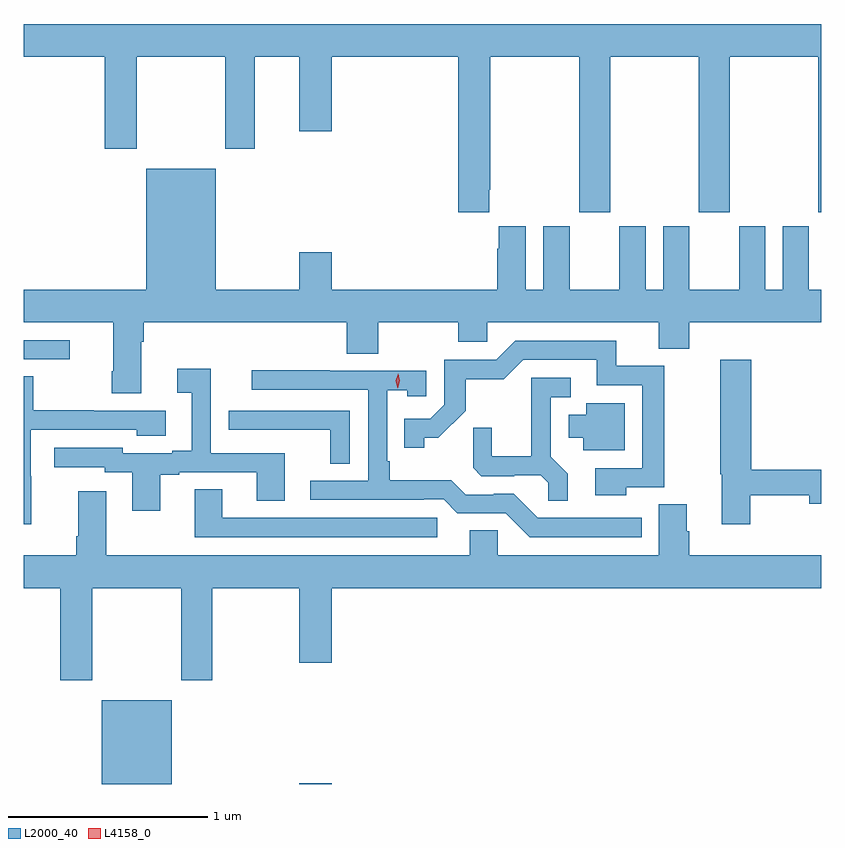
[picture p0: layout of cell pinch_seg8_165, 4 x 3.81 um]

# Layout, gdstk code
import gdstk
lib = gdstk.Library(unit=1e-6, precision=1e-09)
def R(c, l, rs):  # rectangles x0, y0, x1, y1
    for r in rs: c.add(gdstk.rectangle(r[:2], r[2:], *l))
def P(c, l, *ps):  # polygons
    for p in ps: c.add(gdstk.Polygon(p, *l))
L2000_40 = (2000, 40)
L4158_0 = (4158, 0)

pinch_seg8_165 = lib.new_cell('pinch_seg8_165')
R(pinch_seg8_165, L2000_40, [(655.526,1144.822,655.876,1145.242), (656.516,1144.822,656.68,1144.825), (655.134,1146.951,655.366,1147.047)])
P(pinch_seg8_165, L2000_40, [(657.469,1147.801),(657.474,1147.801),(657.474,1148.468),(657.919,1148.468),(657.919,1147.689),(658.074,1147.689),(658.074,1148.468),(658.519,1148.468),(658.519,1147.689),(658.674,1147.689),(658.674,1148.468),(659.119,1148.468),(659.119,1147.689),(659.134,1147.689),(659.134,1148.632),(655.134,1148.632),(655.134,1148.468),(655.541,1148.468),(655.541,1148.007),(655.701,1148.007),(655.701,1148.468),(656.146,1148.468),(656.146,1148.007),(656.293,1148.007),(656.293,1148.468),(656.516,1148.468),(656.516,1148.094),(656.68,1148.094),(656.68,1148.468),(657.314,1148.468),(657.314,1147.689),(657.469,1147.689)],
  [(658.319,1147.003),(658.472,1147.003),(658.472,1147.136),(659.134,1147.136),(659.134,1147.3),(659.071,1147.3),(659.071,1147.618),(658.94,1147.618),(658.94,1147.3),(658.852,1147.3),(658.852,1147.618),(658.721,1147.618),(658.721,1147.3),(658.471,1147.3),(658.471,1147.618),(658.34,1147.618),(658.34,1147.3),(658.252,1147.3),(658.252,1147.618),(658.121,1147.618),(658.121,1147.3),(657.871,1147.3),(657.871,1147.618),(657.74,1147.618),(657.74,1147.3),(657.652,1147.3),(657.652,1147.618),(657.515,1147.618),(657.515,1147.505),(657.509,1147.505),(657.509,1147.3),(656.68,1147.3),(656.68,1147.489),(656.516,1147.489),(656.516,1147.3),(656.098,1147.3),(656.098,1147.906),(655.748,1147.906),(655.748,1147.3),(655.134,1147.3),(655.134,1147.136),(655.583,1147.136),(655.583,1146.892),(655.576,1146.892),(655.576,1146.78),(655.723,1146.78),(655.723,1147.04),(655.736,1147.04),(655.736,1147.136),(656.753,1147.136),(656.753,1146.979),(656.913,1146.979),(656.913,1147.136),(657.313,1147.136),(657.313,1147.038),(657.459,1147.038),(657.459,1147.136),(658.319,1147.136)],
  [(658.155,1146.309),(658.345,1146.309),(658.345,1146.918),(658.106,1146.918),(658.106,1147.044),(657.6,1147.044),(657.504,1146.948),(657.243,1146.948),(657.243,1146.723),(657.174,1146.654),(657.043,1146.654),(657.043,1146.507),(657.144,1146.507),(657.144,1146.557),(657.214,1146.557),(657.352,1146.694),(657.352,1146.85),(657.541,1146.85),(657.639,1146.948),(658.007,1146.948),(658.007,1146.822),(658.236,1146.822),(658.236,1146.405),(657.999,1146.405),(657.999,1146.269),(658.155,1146.269)],
  [(658.776,1146.27),(659.072,1146.27),(659.072,1146.227),(659.134,1146.227),(659.134,1146.398),(658.781,1146.398),(658.781,1146.949),(658.627,1146.949),(658.627,1146.375),(658.634,1146.375),(658.634,1146.123),(658.776,1146.123)],
  [(655.819,1146.372),(655.915,1146.372),(655.915,1146.384),(656.303,1146.384),(656.303,1146.241),(656.443,1146.241),(656.443,1146.48),(656.073,1146.48),(656.073,1146.904),(655.905,1146.904),(655.905,1146.784),(655.976,1146.784),(655.976,1146.493),(655.88,1146.493),(655.88,1146.48),(655.632,1146.48),(655.632,1146.507),(655.287,1146.507),(655.287,1146.411),(655.542,1146.411),(655.542,1146.384),(655.679,1146.384),(655.679,1146.192),(655.819,1146.192)],
  [(658.234,1146.156),(657.711,1146.156),(657.591,1146.276),(657.49,1146.276),(657.49,1146.273),(657.351,1146.273),(657.278,1146.346),(656.971,1146.346),(656.971,1146.439),(656.958,1146.439),(656.958,1146.797),(657.057,1146.797),(657.057,1146.765),(657.153,1146.765),(657.153,1146.894),(656.669,1146.894),(656.669,1146.897),(656.277,1146.897),(656.277,1146.798),(656.862,1146.798),(656.862,1146.342),(656.571,1146.342),(656.571,1146.246),(657.14,1146.246),(657.14,1146.249),(657.24,1146.249),(657.309,1146.18),(657.552,1146.18),(657.672,1146.06),(658.234,1146.06)],
  [(655.173,1146.365),(655.17,1146.365),(655.17,1146.597),(655.701,1146.597),(655.701,1146.569),(655.846,1146.569),(655.846,1146.693),(655.487,1146.693),(655.487,1146.696),(655.183,1146.696),(655.183,1146.866),(655.134,1146.866),(655.134,1146.125),(655.173,1146.125)],
  [(657.863,1146.377),(657.777,1146.463),(657.777,1146.762),(657.877,1146.762),(657.877,1146.858),(657.68,1146.858),(657.68,1146.466),(657.482,1146.466),(657.482,1146.609),(657.388,1146.609),(657.388,1146.407),(657.429,1146.366),(657.594,1146.366),(657.594,1146.369),(657.728,1146.369),(657.765,1146.332),(657.765,1146.241),(657.863,1146.241)],
  [(658.147,1146.73),(657.956,1146.73),(657.956,1146.673),(657.866,1146.673),(657.866,1146.557),(657.941,1146.557),(657.941,1146.494),(658.147,1146.494)],
  [(656.769,1146.693),(656.163,1146.693),(656.163,1146.598),(656.275,1146.598),(656.275,1146.597),(656.671,1146.597),(656.671,1146.427),(656.769,1146.427)],
  [(657.208,1146.156),(656.131,1146.156),(656.131,1146.299),(655.991,1146.299),(655.991,1146.06),(657.208,1146.06)],
  [(655.479,1145.804),(655.924,1145.804),(655.924,1145.343),(656.079,1145.343),(656.079,1145.804),(656.516,1145.804),(656.516,1145.43),(656.68,1145.43),(656.68,1145.804),(659.134,1145.804),(659.134,1145.968),(658.472,1145.968),(658.472,1146.09),(658.459,1146.09),(658.459,1146.224),(658.319,1146.224),(658.319,1145.968),(657.51,1145.968),(657.51,1146.095),(657.371,1146.095),(657.371,1145.968),(655.549,1145.968),(655.549,1146.289),(655.409,1146.289),(655.409,1146.064),(655.397,1146.064),(655.397,1145.968),(655.134,1145.968),(655.134,1145.804),(655.319,1145.804),(655.319,1145.343),(655.479,1145.343)])
P(pinch_seg8_165, L4158_0, [(657.01,1146.807),(657.001,1146.843),(657.012,1146.879),(657.012,1146.879),(657.012,1146.879),(657.021,1146.843),(657.011,1146.807),(657.011,1146.807)])

lib.write_gds('pinch_seg8_165.gds')
